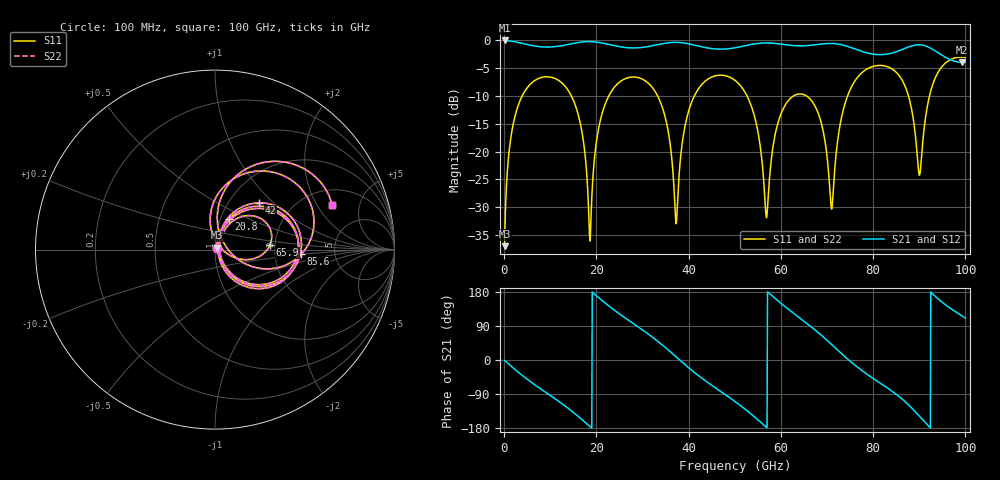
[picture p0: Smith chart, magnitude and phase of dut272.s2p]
! Touchstone file exported from HFSS 2026.1.0
!  File:  C:/ffzhzh/LocalFiles/Ansys_Project_Files/temp_train_TSV_RDL_272_1783675352_33328.aedt
!  Generated:  05:31:14 PM Jul 10, 2026
!  Design:  TSV_RDL
!  Project:  temp_train_TSV_RDL_272_1783675352_33328
! Variables:
!  h_bsmrdl = 4.19um
!  h_ox = 20um
!  h_rdl = 5um
!  h_sub = 95.85um
!  h_tmrdl = 3.69um
!  h_tsv = 95.85um
!  h_via = 3um
!  l_bsmrdl = 353.41um
!  l_sub = 3002.82um
!  l_tmrdl = 345.74um
!  m_sub = 200um
!  pitch = 57.63um
!  r_tsv = 11.12um
!  s_tmrdl = 10um
!  w_bsmrdl = 24.52um
!  w_sub = 500um
!  w_tmrdl = 28.69um
!  x_tsv_center1 = 360.085um
!  x_tsv_center2 = 738.015um
!  x_tsv_center3 = 1112.445um
!  x_tsv_center4 = 1490.375um
!  x_tsv_center5 = 1864.805um
!  x_tsv_center6 = 2242.735um
# GHz S MA R 50.000000
! Terminal data exported
! Port[1] = TM_RDL1_1_T1
! Port[2] = TM_RDL5_1_T1
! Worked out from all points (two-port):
!   1000 points, 100 MHz to 100 GHz, reference 50 ohm
!   highest |S21| = -0.09 dB at 100 MHz (marker M1); lowest = -4.0 dB at 99.3 GHz (marker M2)
!   |S21| within 3 dB of the highest: start of sweep to 95.66 GHz
!   lowest |S11| = -37.0 dB at 100 MHz (marker M3), VSWR 1.03, Z = 51 + j1.02 ohm
!   |S11| at or under -10 dB: 14.55 GHz to 22.71 GHz (8.162 GHz wide, 43.8 % of centre); 52.64 GHz to 62.8 GHz (10.16 GHz wide, 17.6 % of centre); 65.47 GHz to 74.47 GHz (8.996 GHz wide, 12.9 % of centre) (the widest 3 of 6)
!   |S22| runs from -37.0 to -3.1 dB; largest |S21 - S12| = 1.7e-14
!   S11 on the Smith chart (normalised r, x): 100 MHz: 1.02, +0.02; 20.8 GHz: 1.10, +0.39; 42 GHz: 1.37, +0.82; 65.9 GHz: 1.88, +0.11; 85.6 GHz: 2.84, -0.18; 100 GHz: 2.78, +2.72
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0.1  0.01417 45.1  0.9902 -1.1  0.9902 -1.1  0.01417 45.1
! Gamma 0 0 0 0
! Port Impedance 50 0 50 0
1.7  0.1544 66.5  0.974 -18.3  0.974 -18.3  0.1544 66.5
5.2  0.382 34.8  0.9059 -52.7  0.9059 -52.7  0.382 34.8
16.8  0.1557 -62.7  0.9582 -156.5  0.9582 -156.5  0.1556 -62.9
18.6  0.01577 2.9  0.9668 -175.5  0.9668 -175.5  0.01529 3.1
20.8  0.1863 65.5  0.9465 161.4  0.9465 161.4  0.1864 65.6
33.4  0.3075 -39.4  0.9103 48.5  0.9103 48.5  0.3076 -39.4
37.3  0.0225 9.8  0.952 8.0  0.952 8.0  0.0225 9.6
42  0.3585 46.6  0.8841 -40.1  0.8841 -40.1  0.3585 46.6
50.1  0.4327 -19.1  0.8516 -109.9  0.8516 -109.9  0.4329 -19.0
56.9  0.02554 6.9  0.9407 -178.0  0.9407 -178.0  0.02664 6.4
60  0.2164 54.2  0.9173 149.8  0.9173 149.8  0.2164 53.8
65.9  0.3072 4.8  0.8922 93.9  0.8922 93.9  0.3073 4.5
66.7  0.2834 -1.9  0.8986 86.2  0.8986 86.2  0.2835 -2.3
71  0.03047 39.7  0.9303 41.0  0.9303 41.0  0.02921 38.9
74.9  0.35 82.5  0.8642 -2.0  0.8642 -2.0  0.3496 82.5
83.4  0.5697 14.7  0.7523 -76.3  0.7523 -76.3  0.5695 14.5
85.6  0.4816 -3.0  0.8013 -96.2  0.8013 -96.2  0.4814 -3.2
90  0.06132 25.4  0.9053 -147.9  0.9053 -147.9  0.06011 25.1
93.3  0.4399 72.8  0.8052 170.0  0.8052 170.0  0.4396 72.8
99.3  0.7025 25.5  0.6301 116.2  0.6301 116.2  0.7022 25.4
100  0.6983 21.0  0.6332 110.6  0.6332 110.6  0.698 20.9
